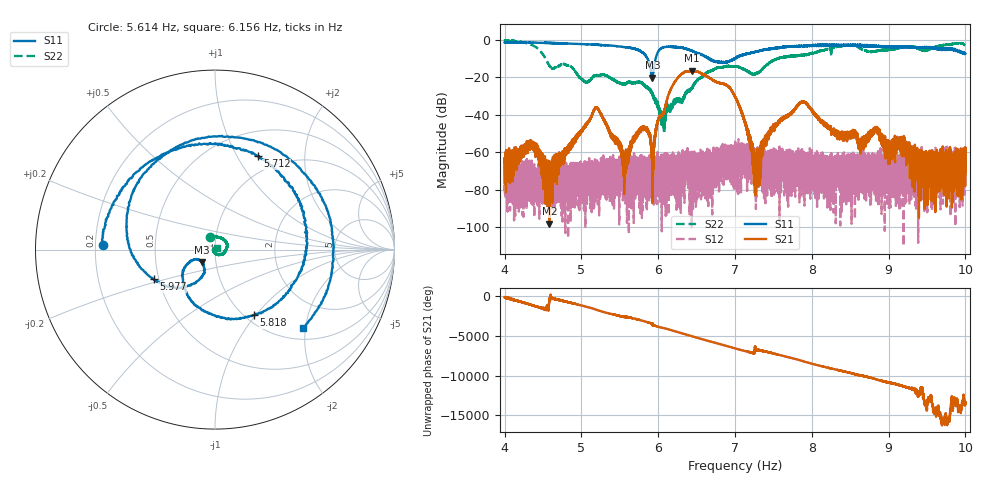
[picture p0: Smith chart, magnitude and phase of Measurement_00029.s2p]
!Created with skrf (http://scikit-rf.org).
# Hz S RI R 50.0
!freq ReS11 ImS11 ReS21 ImS21 ReS12 ImS12 ReS22 ImS22
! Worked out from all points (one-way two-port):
!   14001 points, 4 Hz to 10 Hz, reference 50 ohm
!   highest |S21| = -16.40 dB at 6.438 Hz (marker M1); lowest = -98.3 dB at 4.583 Hz (marker M2)
!   lowest |S11| = -20.1 dB at 5.923 Hz (marker M3), VSWR 1.22, Z = 43 - j6.04 ohm
!   |S11| at or under -10 dB: 5.862 Hz to 5.966 Hz (103.3 mHz wide, 1.75 % of centre); 6.668544 Hz to 6.674052 Hz (5.508 mHz wide, 0.0826 % of centre); 6.674 Hz to 6.988 Hz (313.6 mHz wide, 4.59 % of centre) (the widest 3 of 9)
!   |S22| runs from -49.3 to -0.2 dB; largest |S21 - S12| = 0.15
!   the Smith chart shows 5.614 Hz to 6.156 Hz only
!   S11 on the Smith chart (normalised r, x): 5.614 Hz: 0.23, +0.02; 5.712 Hz: 0.79, +1.22; 5.818 Hz: 1.10, -0.98; 5.977 Hz: 0.47, -0.18; 6.156 Hz: 1.25, -1.95
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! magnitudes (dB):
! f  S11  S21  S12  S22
! 4 Hz  -1.2  -71.8  -72.1  -0.2
! 4.345 Hz  -1.3  -54.6  -71.9  -2.4
! 4.583 Hz  -1.6  -98.3  -74.3  -13.6
! 5 Hz  -2.1  -48.6  -71.9  -20.8
! 5.202 Hz  -2.5  -36.1  -75.7  -18.7
! 5.557 Hz  -3.7  -61.9  -66.0  -23.7
! 5.614 Hz  -4.1  -62.3  -72.7  -22.3
! 5.712 Hz  -4.9  -50.6  -75.0  -22.7
! 5.818 Hz  -7.4  -46.9  -74.1  -24.3
! 5.923 Hz  -20.1  -87.2  -69.1  -29.1
! 5.977 Hz  -8.4  -47.0  -83.3  -33.5
! 6 Hz  -6.1  -42.8  -75.7  -34.9
! 6.064 Hz  -3.9  -39.4  -62.9  -45.4
! 6.156 Hz  -3.6  -27.0  -68.7  -38.4
! 6.438 Hz  -5.7  -16.4  -65.9  -25.5
! 7 Hz  -9.7  -30.3  -55.6  -14.0
! 7.272 Hz  -6.2  -63.7  -90.4  -17.8
! 7.592 Hz  -3.9  -43.2  -68.7  -9.5
! 8 Hz  -3.1  -37.6  -77.3  -6.9
! 8.841 Hz  -3.1  -47.9  -64.7  -5.9
! 9 Hz  -3.7  -56.2  -67.9  -5.1
! 10 Hz  -7.3  -70.8  -62.2  -3.1
